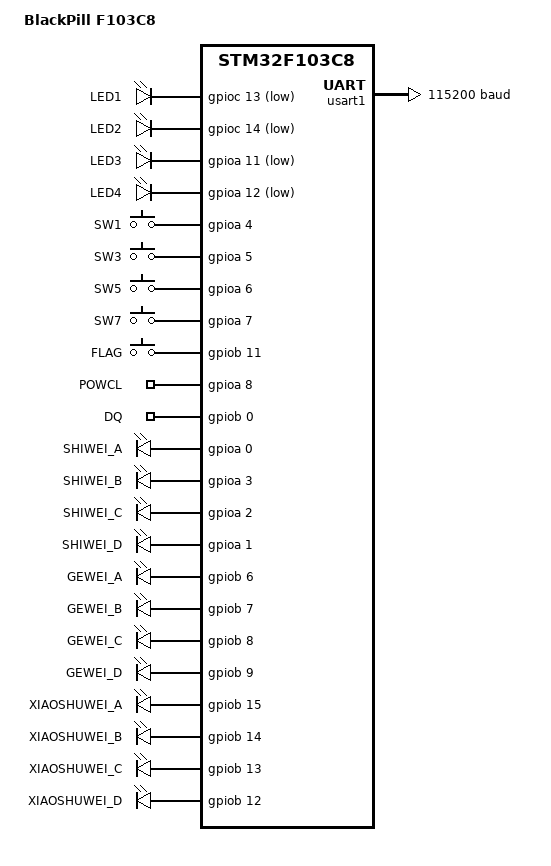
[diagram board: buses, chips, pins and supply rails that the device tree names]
/ {
	model = "BlackPill F103C8";
	compatible = "st,stm32f103c8";

	leds {
		compatible = "gpio-leds";
		led1: led_1 {
			gpios = <&gpioc 13 GPIO_ACTIVE_LOW>;
			label = "LED1";
		};
		led2: led_2 {
			gpios = <&gpioc 14 GPIO_ACTIVE_LOW>;
			label = "LED2";
		};
		led3: led_3 {
			gpios = <&gpioa 11 GPIO_ACTIVE_LOW>;
			label = "LED3";
		};
		led4: led_4 {
			gpios = <&gpioa 12 GPIO_ACTIVE_LOW>;
			label = "LED4";
		};
	};

	buttons {
		compatible = "gpio-keys";
		sw1: button_1 {
			gpios = <&gpioa 4 GPIO_PULL_UP>;
			label = "SW1";
		};
		sw3: button_3 {
			gpios = <&gpioa 5 GPIO_PULL_UP>;
			label = "SW3";
		};
		sw5: button_5 {
			gpios = <&gpioa 6 GPIO_PULL_UP>;
			label = "SW5";
		};
		sw7: button_7 {
			gpios = <&gpioa 7 GPIO_PULL_UP>;
			label = "SW7";
		};
		// 档位切换按钮
		mode_btn: mode_btn {
			gpios = <&gpiob 11 GPIO_PULL_UP>;
			label = "FLAG";
		};

		heater_gpio: heater_gpio {
			gpios = <&gpioa 8 GPIO_ACTIVE_HIGH>;
			label = "POWCL";
		};

		/* DS18B20 数据线 */
		ds18b20_dq: ds18b20_dq {
			gpios = <&gpiob 0 (GPIO_ACTIVE_HIGH | GPIO_PULL_UP)>;
			label = "DQ";
		};
	};

	digit_display_tens: digit_display_tens {
    compatible = "gpio-leds";
    tens_a: tens_a {
        gpios = <&gpioa 0 GPIO_ACTIVE_HIGH>;
        label = "SHIWEI_A";
    };
    tens_b: tens_b {
        gpios = <&gpioa 3 GPIO_ACTIVE_HIGH>;
        label = "SHIWEI_B";
    };
    tens_c: tens_c {
        gpios = <&gpioa 2 GPIO_ACTIVE_HIGH>;
        label = "SHIWEI_C";
    };
    tens_d: tens_d {
        gpios = <&gpioa 1 GPIO_ACTIVE_HIGH>;
        label = "SHIWEI_D";
    };
};

	/* 个位数码管段选 */
	digit_display_units: digit_display_units {
		compatible = "gpio-leds";
		units_a: units_a {
			gpios = <&gpiob 6 GPIO_ACTIVE_HIGH>;
			label = "GEWEI_A";
		};
		units_b: units_b {
			gpios = <&gpiob 7 GPIO_ACTIVE_HIGH>;
			label = "GEWEI_B";
		};
		units_c: units_c {
			gpios = <&gpiob 8 GPIO_ACTIVE_HIGH>;
			label = "GEWEI_C";
		};
		units_d: units_d {
			gpios = <&gpiob 9 GPIO_ACTIVE_HIGH>;
			label = "GEWEI_D";
		};
	};

	/* 小数位数码管段选 */
	digit_display_decimal: digit_display_decimal {
		compatible = "gpio-leds";
		decimal_a: decimal_a {
			gpios = <&gpiob 15 GPIO_ACTIVE_HIGH>;
			label = "XIAOSHUWEI_A";
		};
		decimal_b: decimal_b {
			gpios = <&gpiob 14 GPIO_ACTIVE_HIGH>;
			label = "XIAOSHUWEI_B";
		};
		decimal_c: decimal_c {
			gpios = <&gpiob 13 GPIO_ACTIVE_HIGH>;
			label = "XIAOSHUWEI_C";
		};
		decimal_d: decimal_d {
			gpios = <&gpiob 12 GPIO_ACTIVE_HIGH>;
			label = "XIAOSHUWEI_D";
		};
	};

	aliases {
		led0 = &led1;
		led1 = &led2;
		led2 = &led3;
		led3 = &led4;
		heater = &heater_gpio;
		dq = &ds18b20_dq;
		sw1 = &sw1;
		sw3 = &sw3;
		sw5 = &sw5;
		sw7 = &sw7;
	};
};

// &adc1 {
// 	compatible = "st,stm32-adc";
// 	status = "okay";
// };

&usart1 {
	current-speed = <115200>;
	status = "okay";
};

/* 电源控制引脚 */
// powcl: powcl {
// 	gpios = <&gpioa 8 GPIO_ACTIVE_HIGH>;
// 	label = "POWCL";
// };





zephyr_udc0: &usb {
	status = "disabled";  /* 禁用USB功能以避免与PA11冲突 */
};

&pinctrl {
	swj-cfg = "jtag-disable";
};

/* 启用 TIM2 定时器用于精准微秒延时 */
// &timers2 {
// 	status = "okay";
// 	pwm2: pwm {
// 		status = "okay";
// 		/* pinctrl-0 = <&tim2_ch1_pa0>; */
// 	};
// };

